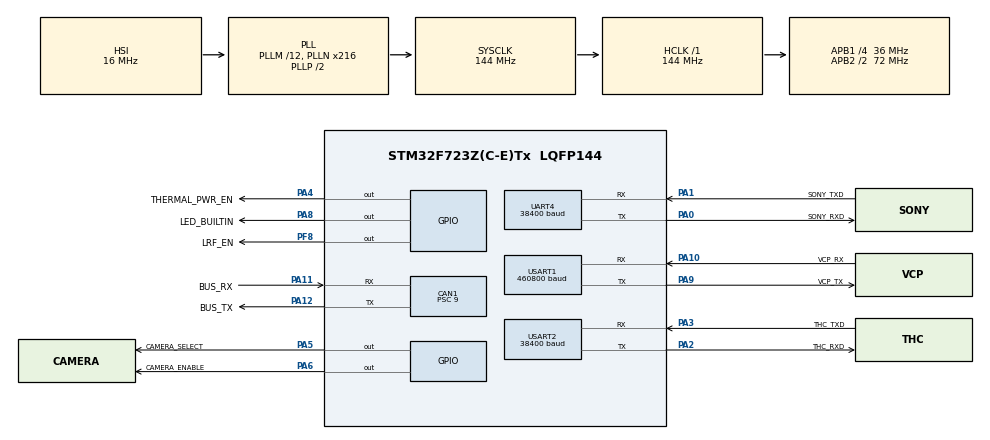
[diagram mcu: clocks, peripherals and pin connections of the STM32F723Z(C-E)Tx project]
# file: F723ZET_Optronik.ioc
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CAN1.BS1=CAN_BS1_6TQ
CAN1.CalculateBaudRate=500000
CAN1.CalculateTimeBit=2000
CAN1.CalculateTimeQuantum=250.0
CAN1.Prescaler=9
CORTEX_M7.default_mode_Activation=1
IWDG.Prescaler=IWDG_PRESCALER_64
IWDG.Reload=1000
IWDG.Window=1000
Mcu.Family=STM32F7
Mcu.Name=STM32F723Z(C-E)Tx
Mcu.Package=LQFP144
NVIC.CAN1_RX0_IRQn=true\:5\:0\:true\:false\:true\:true\:true\:true
NVIC.PriorityGroup=NVIC_PRIORITYGROUP_4
NVIC.UART4_IRQn=true\:9\:0\:true\:false\:false\:true\:true\:true
NVIC.USART1_IRQn=true\:14\:0\:true\:false\:false\:true\:true\:true
NVIC.USART2_IRQn=true\:10\:0\:true\:false\:false\:true\:true\:true
PA0-WKUP.GPIO_Label=SONY_RXD
PA0-WKUP.Mode=Asynchronous
PA0-WKUP.Signal=UART4_TX
PA1.GPIO_Label=SONY_TXD
PA1.GPIO_PuPd=GPIO_PULLUP
PA1.Mode=Asynchronous
PA1.Signal=UART4_RX
PA10.GPIO_Label=VCP_RX
PA10.GPIO_PuPd=GPIO_PULLUP
PA10.Mode=Asynchronous
PA10.Signal=USART1_RX
PA11.GPIO_Label=BUS_RX
PA11.GPIO_PuPd=GPIO_PULLUP
PA11.Mode=CAN_Activate
PA11.Signal=CAN1_RX
PA12.GPIO_Label=BUS_TX
PA12.Mode=CAN_Activate
PA12.Signal=CAN1_TX
PA13.Mode=Serial_Wire
PA13.Signal=SYS_JTMS-SWDIO
PA14.Mode=Serial_Wire
PA14.Signal=SYS_JTCK-SWCLK
PA2.GPIO_Label=THC_RXD
PA2.Mode=Asynchronous
PA2.Signal=USART2_TX
PA3.GPIO_Label=THC_TXD
PA3.GPIO_PuPd=GPIO_PULLUP
PA3.Mode=Asynchronous
PA3.Signal=USART2_RX
PA4.GPIO_Label=THERMAL_PWR_EN
PA4.GPIO_PuPd=GPIO_PULLDOWN
PA4.Signal=GPIO_Output
PA5.GPIO_Label=CAMERA_SELECT
PA5.GPIO_ModeDefaultOutputPP=GPIO_MODE_OUTPUT_PP
PA5.GPIO_PuPd=GPIO_NOPULL
PA5.PinState=GPIO_PIN_SET
PA5.Signal=GPIO_Output
PA6.GPIO_Label=CAMERA_ENABLE
PA6.GPIO_ModeDefaultOutputPP=GPIO_MODE_OUTPUT_OD
PA6.GPIO_PuPd=GPIO_NOPULL
PA6.PinState=GPIO_PIN_SET
PA6.Signal=GPIO_Output
PA8.GPIO_Label=LED_BUILTIN
PA8.Signal=GPIO_Output
PA9.GPIO_Label=VCP_TX
PA9.Mode=Asynchronous
PA9.Signal=USART1_TX
PB10.GPIO_Label=IMU_RXD
PB10.Signal=USART3_TX
PB11.GPIO_Label=IMU_TXD
PB11.GPIO_PuPd=GPIO_PULLUP
PB11.Signal=USART3_RX
PF6.GPIO_Label=LRF_TXD
PF6.GPIO_PuPd=GPIO_PULLUP
PF6.Signal=UART7_RX
PF7.GPIO_Label=LRF_RXD
PF7.Signal=UART7_TX
PF8.GPIO_Label=LRF_EN
PF8.Signal=GPIO_Output
ProjectManager.HeapSize=0x200
ProjectManager.StackSize=0x400
ProjectManager.TargetToolchain=STM32CubeIDE
RCC.AHBFreq_Value=144000000
RCC.APB1CLKDivider=RCC_HCLK_DIV4
RCC.APB1Freq_Value=36000000
RCC.APB1TimFreq_Value=72000000
RCC.APB2CLKDivider=RCC_HCLK_DIV2
RCC.APB2Freq_Value=72000000
RCC.APB2TimFreq_Value=144000000
RCC.CortexFreq_Value=144000000
RCC.HCLKFreq_Value=144000000
RCC.HSE_VALUE=8000000
RCC.HSI_VALUE=16000000
RCC.LSE_VALUE=32768
RCC.PLLM=12
RCC.PLLN=216
RCC.SYSCLKFreq_VALUE=144000000
RCC.SYSCLKSource=RCC_SYSCLKSOURCE_PLLCLK
RCC.USBFreq_Value=144000000
RCC.VCOOutputFreq_Value=288000000
UART4.BaudRate=38400
USART1.BaudRate=460800
USART1.VirtualMode-Asynchronous=VM_ASYNC
USART2.BaudRate=38400
USART2.VirtualMode-Asynchronous=VM_ASYNC
VP_IWDG_VS_IWDG.Mode=IWDG_Activate
board=custom

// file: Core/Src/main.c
/* USER CODE BEGIN Header */
/**
 ******************************************************************************
 * @file           : main.c
 * @brief          : Main program body
 ******************************************************************************
 * @attention
 *
 * Copyright (c) 2022 STMicroelectronics.
 * All rights reserved.
 *
 * This software is licensed under terms that can be found in the LICENSE file
 * in the root directory of this software component.
 * If no LICENSE file comes with this software, it is provided AS-IS.
 *
 ******************************************************************************
 */
/* USER CODE END Header */
#include "main.h"
#include "can.h"
#include "iwdg.h"
#include "usart.h"
#include "gpio.h"

/* USER CODE BEGIN Includes */
#include <stdio.h>
#include <string.h>

#include "driver/bus_can/bus_can.h"
#include "config/bus_button_config.h"
/* USER CODE END Includes */

/* USER CODE BEGIN PTD */
typedef struct
{
	CAN_HandleTypeDef *hcan;
	CAN_TxHeaderTypeDef txHeader;
	uint32_t txMailBox;

	Bus_Tx_Buffer_t tx_opt_lrf;
	Bus_Tx_Buffer_t tx_opt_cam;

	Bus_Rx_Buffer_t rx_panel_command;
} Bus_t;

static Bus_t bus;

/* USER CODE END PTD */

/* USER CODE BEGIN PD */
#define DEBUG_ENABLE			1
#if DEBUG_ENABLE==1
#define DEBUG_BUS				0

#define DEBUG_SONY				1
#define DEBUG_THC				0
#define DEBUG_LRF				0
#endif	//if DEBUG_ENABLE==1

#if DEBUG_ENABLE==1
#define LOG(str, ...) printf("[%ld %s:%d] " str, HAL_GetTick(), __FILE_NAME__, __LINE__, ##__VA_ARGS__)
#define LOG_E(str, ...) printf("[%s Err:%d] " str,  __FILE_NAME__,__LINE__, ##__VA_ARGS__)
#else
#define LOG(str, ...)
#define LOG_E(str, ...)
#endif	//if DEBUG_ENABLE==1

#if DEBUG_BUS==1
#define LOGB(str, ...) printf("[%ld %s:%d] " str, HAL_GetTick(), __FILE_NAME__, __LINE__, ##__VA_ARGS__)
#define LOGB_E(str, ...) printf("[%s Err:%d] " str,  __FILE_NAME__,__LINE__, ##__VA_ARGS__)
#else
#define LOGB(str, ...)
#define LOGB_E(str, ...)
#endif	//if DEBUG_BUS==1

#if DEBUG_SONY==1
#define LOGS(str, ...) printf("[%ld %s:%d] " str, HAL_GetTick(), __FILE_NAME__, __LINE__, ##__VA_ARGS__)
#define LOGS_E(str, ...) printf("[%s Err:%d] " str,  __FILE_NAME__,__LINE__, ##__VA_ARGS__)
#else
#define LOGS(str, ...)
#define LOGS_E(str, ...)
#endif	//if DEBUG_SONY==1

/* USER CODE END PD */

/* USER CODE BEGIN PV */
Panel_camera_command_t p_cmd;
Optronik_camera_state_t cam_state;
/* USER CODE END PV */

void SystemClock_Config(void);
static void MPU_Config(void);
/* USER CODE BEGIN PFP */
static void camera_init();
static void camera_handler();

static HAL_StatusTypeDef can_init();
static HAL_StatusTypeDef bus_init();
static HAL_StatusTypeDef bus_send(Bus_Tx_Buffer_t *buffer);

/* USER CODE END PFP */

int main(void)
{

  /* MPU Configuration--------------------------------------------------------*/
  MPU_Config();

  /* MCU Configuration--------------------------------------------------------*/

  /* Reset of all peripherals, Initializes the Flash interface and the Systick. */
  HAL_Init();

  /* Configure the system clock */
  SystemClock_Config();

  /* Initialize all configured peripherals */
  MX_GPIO_Init();
  MX_CAN1_Init();
  MX_USART1_UART_Init();
  MX_UART4_Init();
  MX_IWDG_Init();
  MX_USART2_UART_Init();
  /* USER CODE BEGIN 2 */
	HAL_GPIO_WritePin(LED_BUILTIN_GPIO_Port, LED_BUILTIN_Pin, GPIO_PIN_SET);

	uart_init_all();

//	/* for serial passthrough purpose */
//	uint32_t _led_timer = 0;
//	while (1) {
//		HAL_IWDG_Refresh(&hiwdg);
//
//		if (HAL_GetTick() >= _led_timer) {
//			_led_timer = HAL_GetTick() + 500;
//
//			HAL_GPIO_TogglePin(LED_BUILTIN_GPIO_Port, LED_BUILTIN_Pin);
//		}
//
//		if (serial_available(&sony) > 0)
//			serial_write(&debug, serial_read(&sony));
//
//		if (serial_available(&debug) > 0)
//			serial_write(&sony, serial_read(&debug));
//	}

	LOG("Optronik Firmware!\r\n");

	HAL_GPIO_WritePin(CAMERA_SELECT_GPIO_Port, CAMERA_SELECT_Pin, GPIO_PIN_RESET);
	HAL_GPIO_WritePin(CAMERA_ENABLE_GPIO_Port, CAMERA_ENABLE_Pin, GPIO_PIN_SET);
	HAL_GPIO_WritePin(THERMAL_PWR_EN_GPIO_Port, THERMAL_PWR_EN_Pin, GPIO_PIN_SET);

	uint32_t led_timer = 0;
	uint8_t video_mode = 0;
	while (1) {
		char c;

		HAL_IWDG_Refresh(&hiwdg);

		if (serial_available(&thc) > 0) {
			c = serial_read(&thc);

			printf("%02X ", (uint8_t) c);
		}

		if (serial_available(&debug) > 0) {
			c = serial_read(&debug);

			if (c == 'e') {
				HAL_GPIO_TogglePin(CAMERA_ENABLE_GPIO_Port, CAMERA_ENABLE_Pin);
				LOG("cam enable= %d\r\n", HAL_GPIO_ReadPin(CAMERA_ENABLE_GPIO_Port, CAMERA_ENABLE_Pin));
			}
			else if (c == 's') {
				HAL_GPIO_TogglePin(CAMERA_SELECT_GPIO_Port, CAMERA_SELECT_Pin);
				LOG("cam select= %d\r\n", HAL_GPIO_ReadPin(CAMERA_SELECT_GPIO_Port, CAMERA_SELECT_Pin));
			}
			else if (c == 'm') {
				if (video_mode == 0)
					video_mode = 1;
				else
					video_mode = 0;

				serial_write(&thc, 0xA0);
				serial_write(&thc, 0x79);
				serial_write(&thc, video_mode);
				serial_write(&thc, 0x00);
				serial_write(&thc, 0x00);
				serial_write(&thc, 0xFF);

				LOG("video mode= %d\r\n", video_mode);
			}
		}

		if (HAL_GetTick() >= led_timer) {
			led_timer = HAL_GetTick() + 500;

			HAL_GPIO_TogglePin(LED_BUILTIN_GPIO_Port, LED_BUILTIN_Pin);
		}
	}

	bus_init();

	HAL_Delay(500);
	camera_init();

  /* USER CODE END 2 */

  /* Infinite loop */
  /* USER CODE BEGIN WHILE */
	uint32_t debug_timer = 1000;
	uint8_t panel_counter = 0;
	while (1) {
		char c;
    /* USER CODE END WHILE */

    /* USER CODE BEGIN 3 */
		HAL_IWDG_Refresh(&hiwdg);

		camera_handler();

		if (bus.rx_panel_command.counter != panel_counter) {
			panel_counter = bus.rx_panel_command.counter;

			LOGB("recv: ");

			*(uint8_t*) &p_cmd = bus.rx_panel_command.data[4];
#if DEBUG_BUS==1
			for ( int i = 0; i < bus.rx_panel_command.len; i++ ) {
				printf("%02X ", bus.rx_panel_command.data[i]);
			}
			printf("\r\n");
#endif	//if DEBUG_BUS==1

			HAL_GPIO_TogglePin(LED_BUILTIN_GPIO_Port, LED_BUILTIN_Pin);
		}

		if (HAL_GetTick() >= debug_timer) {
			debug_timer = HAL_GetTick() + 500;

			bus.tx_opt_cam.data[0] = *(uint8_t*) &cam_state;
			bus_send(&bus.tx_opt_cam);
		}

		if (HAL_GetTick() >= (bus.rx_panel_command.lastTimestamp + 5000))
			HAL_GPIO_WritePin(LED_BUILTIN_GPIO_Port, LED_BUILTIN_Pin, GPIO_PIN_SET);

	}
  /* USER CODE END 3 */
}

void SystemClock_Config(void)
{
  RCC_OscInitTypeDef RCC_OscInitStruct = {0};
  RCC_ClkInitTypeDef RCC_ClkInitStruct = {0};

  /** Configure the main internal regulator output voltage
  */
  __HAL_RCC_PWR_CLK_ENABLE();
  __HAL_PWR_VOLTAGESCALING_CONFIG(PWR_REGULATOR_VOLTAGE_SCALE3);

  /** Initializes the RCC Oscillators according to the specified parameters
  * in the RCC_OscInitTypeDef structure.
  */
  RCC_OscInitStruct.OscillatorType = RCC_OSCILLATORTYPE_HSI|RCC_OSCILLATORTYPE_LSI;
  RCC_OscInitStruct.HSIState = RCC_HSI_ON;
  RCC_OscInitStruct.HSICalibrationValue = RCC_HSICALIBRATION_DEFAULT;
  RCC_OscInitStruct.LSIState = RCC_LSI_ON;
  RCC_OscInitStruct.PLL.PLLState = RCC_PLL_ON;
  RCC_OscInitStruct.PLL.PLLSource = RCC_PLLSOURCE_HSI;
  RCC_OscInitStruct.PLL.PLLM = 12;
  RCC_OscInitStruct.PLL.PLLN = 216;
  RCC_OscInitStruct.PLL.PLLP = RCC_PLLP_DIV2;
  RCC_OscInitStruct.PLL.PLLQ = 2;
  if (HAL_RCC_OscConfig(&RCC_OscInitStruct) != HAL_OK)
  {
    Error_Handler();
  }

  /** Initializes the CPU, AHB and APB buses clocks
  */
  RCC_ClkInitStruct.ClockType = RCC_CLOCKTYPE_HCLK|RCC_CLOCKTYPE_SYSCLK
                              |RCC_CLOCKTYPE_PCLK1|RCC_CLOCKTYPE_PCLK2;
  RCC_ClkInitStruct.SYSCLKSource = RCC_SYSCLKSOURCE_PLLCLK;
  RCC_ClkInitStruct.AHBCLKDivider = RCC_SYSCLK_DIV1;
  RCC_ClkInitStruct.APB1CLKDivider = RCC_HCLK_DIV4;
  RCC_ClkInitStruct.APB2CLKDivider = RCC_HCLK_DIV2;

  if (HAL_RCC_ClockConfig(&RCC_ClkInitStruct, FLASH_LATENCY_4) != HAL_OK)
  {
    Error_Handler();
  }
}

/* USER CODE BEGIN 4 */
/* TODO User Function */

/* ====== */
/* CAMERA */
/* ====== */
static void camera_init()
{
//	HAL_GPIO_WritePin(THERMAL_PWR_EN_GPIO_Port, THERMAL_PWR_EN_Pin, GPIO_PIN_RESET);

	HAL_GPIO_WritePin(CAMERA_ENABLE_GPIO_Port, CAMERA_ENABLE_Pin, GPIO_PIN_SET);
	HAL_GPIO_WritePin(CAMERA_SELECT_GPIO_Port, CAMERA_SELECT_Pin, GPIO_PIN_SET);

}

static void c_sony_set_auto_focus(const uint8_t en)
{
	const uint8_t af_auto[6] = { 0x81, 0x01, 0x04, 0x38, 0x02, 0xFF };
	const uint8_t af_manual[6] = { 0x81, 0x01, 0x04, 0x38, 0x03, 0xFF };

	for ( int i = 0; i < 6; i++ ) {
		if (en == 0)
			serial_write(&sony, af_manual[i]);
		else
			serial_write(&sony, af_auto[i]);
	}
}

static void c_sony_set_zoom(uint8_t level)
{
	const uint8_t z[3][9] = { { 0x81, 0x01, 0x04, 0x47, 0x02, 0x0, 0x0, 0x00, 0xFF }, { 0x81, 0x01, 0x04, 0x47, 0x04, 0x0,
			0x0, 0x00, 0xFF }, { 0x81, 0x01, 0x04, 0x47, 0x06, 0x0, 0x0, 0x00, 0xFF } };

	if (level > 2)
		level = 2;

	for ( int i = 0; i < 9; i++ ) {
		serial_write(&sony, z[level][i]);
	}
}

static void c_sony_set_manual_focus(const uint8_t mode, uint8_t spd)
{
	if (spd > 7)
		spd = 7;

	uint8_t cmd[6] = { 0x81, 0x01, 0x04, 0x08, 0, 0xFF };

	if (mode == ZF_IN)
		cmd[4] = 0x20 | spd;
	else if (mode == ZF_OUT)
		cmd[4] = 0x30 | spd;

	for ( int i = 0; i < 6; i++ ) {
		serial_write(&sony, cmd);
	}

}

static void camera_handler()
{
	static Panel_camera_command_t old;
	static uint8_t zLevel = 0;
	static uint8_t af_state = 1;
	uint8_t fSpeed = 0;

	if (serial_available(&sony) > 0) {
#if DEBUG_SONY==1
		printf("%02X ", (uint8_t) serial_read(&sony));
#endif	//if DEBUG_SONY==1
	}

	if (p_cmd.zoom != old.zoom) {
		if (p_cmd.zoom == ZF_IN) {
			if (zLevel < 2) {
				LOGS("zoom IN\r\n");
				c_sony_set_zoom(++zLevel);
			}
		}
		else if (p_cmd.zoom == ZF_OUT) {
			if (zLevel > 0) {
				LOGS("zoom OUT\r\n");
				c_sony_set_zoom(--zLevel);
			}
		}
		else {
			af_state = 1;
			c_sony_set_auto_focus(af_state);
		}

		cam_state.zoomLevel = zLevel;
		old.zoom = p_cmd.zoom;
	}
	else {
		if (p_cmd.focus != old.focus) {
			if (p_cmd.focus == ZF_IN) {
				LOGS("FOCUS FAR start\r\n");
				if (af_state != 0) {
					af_state = 0;
					c_sony_set_auto_focus(af_state);
					HAL_Delay(10);
				}
			}
			else if (p_cmd.focus == ZF_OUT) {
				LOGS("FOCUS NEAR start\r\n");
				if (af_state != 0) {
					af_state = 0;
					c_sony_set_auto_focus(af_state);
					HAL_Delay(10);
				}
			}
			else {
				LOGS("FOCUS stop\r\n");
				af_state = 1;
			}

			fSpeed = (3 - zLevel) * 2;
			c_sony_set_manual_focus(p_cmd.focus, fSpeed);
			old.focus = p_cmd.focus;
		}
	}
}

/* === */
/* BUS */
/* === */
static HAL_StatusTypeDef can_init()
{
	HAL_StatusTypeDef ret = HAL_OK;

	CAN_RX_Filter(bus.hcan, 0, RWS_PANEL_CMD_ID, 0x7FF);

	CAN_Config(bus.hcan);
	CAN_Tx_Config(&bus.txHeader);

	return ret;
}

static HAL_StatusTypeDef bus_init()
{
	bus.hcan = &hcan1;

	/* can tx buffer init */
	bus.tx_opt_lrf.id = RWS_OPTRONIK_LRF_ID;
	bus.tx_opt_lrf.datalength = 8;
	bus.tx_opt_cam.id = RWS_OPTRONIK_CAM_ID;
	bus.tx_opt_cam.datalength = 1;

	/* can rx buffer init */
	bus.rx_panel_command.id = RWS_PANEL_CMD_ID;

	return can_init();
}

static HAL_StatusTypeDef bus_send(Bus_Tx_Buffer_t *buffer)
{
	bus.txHeader.StdId = buffer->id;
	bus.txHeader.DLC = buffer->datalength;

	if (HAL_CAN_GetTxMailboxesFreeLevel(bus.hcan) > 0)
		return HAL_CAN_AddTxMessage(bus.hcan, &bus.txHeader, buffer->data, &bus.txMailBox);
	else
		return HAL_ERROR;
}
/**
 * @brief  Rx Fifo 0 message pending callback
 * @param  hcan: pointer to a CAN_HandleTypeDef structure that contains
 *         the configuration information for the specified CAN.
 * @retval None
 */
void HAL_CAN_RxFifo0MsgPendingCallback(CAN_HandleTypeDef *hcan)
{
	CAN_RxHeaderTypeDef RxHeader;
	uint8_t RxData[8];

	/* Get RX message */
	if (HAL_CAN_GetRxMessage(hcan, CAN_RX_FIFO0, &RxHeader, RxData) == HAL_OK) {
		if (RxHeader.IDE == CAN_ID_STD) {
			uint32_t _id = RxHeader.StdId;

			/* FROM MOTOR */
			if (_id == RWS_PANEL_CMD_ID) {
				bus.rx_panel_command.lastTimestamp = HAL_GetTick();
				memcpy(bus.rx_panel_command.data, RxData, RxHeader.DLC);
				bus.rx_panel_command.len = RxHeader.DLC;
				bus.rx_panel_command.counter++;
			}
		}
	}

}

void HAL_CAN_ErrorCallback(CAN_HandleTypeDef *hcan)
{
	MX_CAN1_Init();
	bus_init();

	LOG("\r\n=============\r\n");
	LOG("BUS OFF ERROR\r\n");LOG("=============\r\n");
}

/* USER CODE END 4 */

/* MPU Configuration */

void MPU_Config(void)
{
  MPU_Region_InitTypeDef MPU_InitStruct = {0};

  /* Disables the MPU */
  HAL_MPU_Disable();

  /** Initializes and configures the Region and the memory to be protected
  */
  MPU_InitStruct.Enable = MPU_REGION_ENABLE;
  MPU_InitStruct.Number = MPU_REGION_NUMBER0;
  MPU_InitStruct.BaseAddress = 0x0;
  MPU_InitStruct.Size = MPU_REGION_SIZE_4GB;
  MPU_InitStruct.SubRegionDisable = 0x87;
  MPU_InitStruct.TypeExtField = MPU_TEX_LEVEL0;
  MPU_InitStruct.AccessPermission = MPU_REGION_NO_ACCESS;
  MPU_InitStruct.DisableExec = MPU_INSTRUCTION_ACCESS_DISABLE;
  MPU_InitStruct.IsShareable = MPU_ACCESS_SHAREABLE;
  MPU_InitStruct.IsCacheable = MPU_ACCESS_NOT_CACHEABLE;
  MPU_InitStruct.IsBufferable = MPU_ACCESS_NOT_BUFFERABLE;

  HAL_MPU_ConfigRegion(&MPU_InitStruct);
  /* Enables the MPU */
  HAL_MPU_Enable(MPU_PRIVILEGED_DEFAULT);

}

void Error_Handler(void)
{
	__disable_irq();
	while (1) {
	}
}
